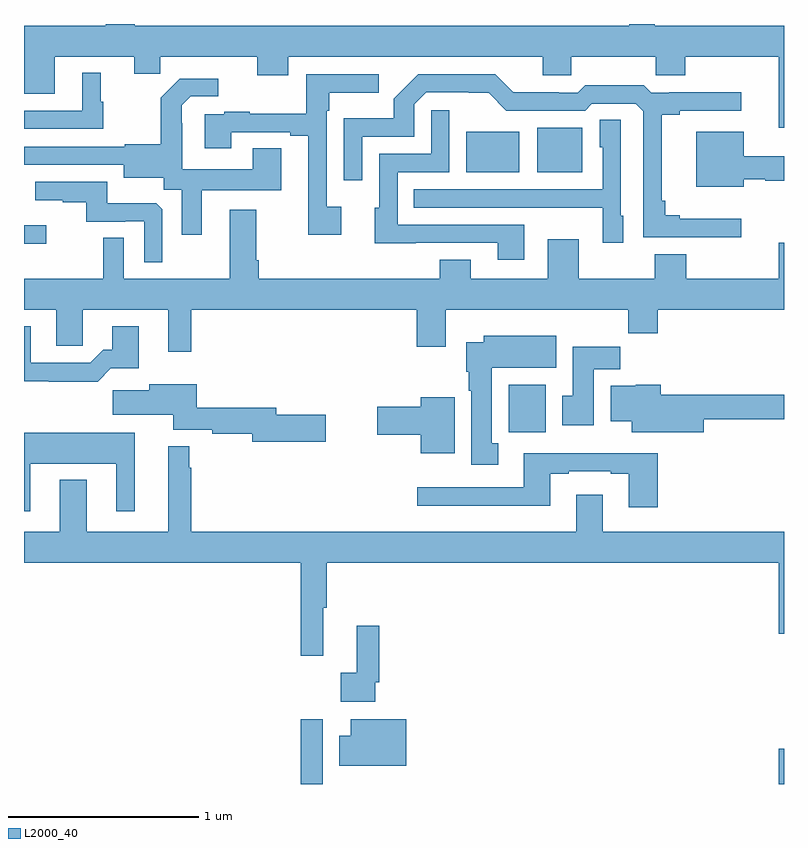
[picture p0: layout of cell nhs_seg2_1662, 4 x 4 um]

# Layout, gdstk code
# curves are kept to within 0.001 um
import gdstk
lib = gdstk.Library(unit=1e-6, precision=1e-09)
def R(c, l, rs):  # rectangles x0, y0, x1, y1
    for r in rs: c.add(gdstk.rectangle(r[:2], r[2:], *l))
def P(c, l, *ps):  # polygons
    for p in ps: c.add(gdstk.Polygon(p, *l))
L2000_40 = (2000, 40)

nhs_seg2_1662 = lib.new_cell('nhs_seg2_1662')
R(nhs_seg2_1662, L2000_40, [(198.457,651.8,198.573,652.141), (200.972,651.8,201,651.985), (199.551,653.652,199.747,653.902), (197,654.644,197.116,654.742), (199.328,655.019,199.606,655.234), (199.7,655.019,199.939,655.255)])
P(nhs_seg2_1662, L2000_40, [(201,655.792),(200.321,655.792),(200.321,655.8),(200.185,655.8),(200.185,655.792),(197.582,655.792),(197.582,655.8),(197.429,655.8),(197.429,655.792),(197,655.792),(197,655.434),(197.161,655.434),(197.161,655.628),(197.579,655.628),(197.579,655.538),(197.717,655.538),(197.717,655.628),(198.227,655.628),(198.227,655.529),(198.391,655.529),(198.391,655.628),(199.73,655.628),(199.73,655.53),(199.881,655.53),(199.881,655.628),(200.326,655.628),(200.326,655.53),(200.481,655.53),(200.481,655.628),(200.972,655.628),(200.972,655.254),(201,655.254)],
  [(197.416,655.392),(197.404,655.392),(197.404,655.543),(197.306,655.543),(197.306,655.344),(197,655.344),(197,655.248),(197.416,655.248)],
  [(198.67,654.838),(198.594,654.838),(198.594,655.343),(198.607,655.343),(198.607,655.439),(198.868,655.439),(198.868,655.536),(198.486,655.536),(198.486,655.328),(198.187,655.328),(198.187,655.339),(198.055,655.339),(198.055,655.326),(197.951,655.326),(197.951,655.146),(198.091,655.146),(198.091,655.23),(198.401,655.23),(198.401,655.212),(198.497,655.212),(198.497,654.69),(198.67,654.69)],
  [(200.776,654.775),(200.452,654.775),(200.452,654.794),(200.375,654.794),(200.375,654.871),(200.357,654.871),(200.357,655.322),(200.452,655.322),(200.452,655.344),(200.776,655.344),(200.776,655.442),(200.395,655.442),(200.395,655.437),(200.301,655.437),(200.261,655.477),(199.954,655.477),(199.914,655.437),(199.814,655.437),(199.814,655.442),(199.574,655.442),(199.479,655.536),(199.076,655.536),(198.946,655.406),(198.946,655.303),(198.684,655.303),(198.684,654.978),(198.78,654.978),(198.78,655.206),(199.053,655.206),(199.053,655.377),(199.116,655.44),(199.445,655.439),(199.539,655.344),(199.953,655.344),(199.989,655.38),(200.22,655.38),(200.259,655.341),(200.259,654.678),(200.776,654.678)],
  [(197.935,654.926),(198.355,654.926),(198.355,655.145),(198.203,655.145),(198.203,655.036),(197.832,655.036),(197.832,655.277),(197.83,655.277),(197.83,655.372),(197.877,655.419),(198.022,655.419),(198.022,655.513),(197.821,655.513),(197.721,655.413),(197.721,655.168),(197.529,655.168),(197.529,655.155),(197,655.155),(197,655.059),(197.525,655.059),(197.525,654.992),(197.736,654.992),(197.736,654.928),(197.831,654.928),(197.831,654.69),(197.935,654.69)],
  [(199.633,654.744),(198.966,654.744),(198.966,655.02),(199.239,655.02),(199.239,655.345),(199.143,655.345),(199.143,655.116),(198.87,655.116),(198.87,654.834),(198.845,654.834),(198.845,654.647),(199.063,654.647),(199.063,654.648),(199.493,654.648),(199.493,654.558),(199.633,654.558)],
  [(200.155,654.792),(200.142,654.792),(200.142,655.295),(200.03,655.295),(200.03,655.152),(200.046,655.152),(200.046,654.93),(199.051,654.93),(199.051,654.834),(199.729,654.834),(199.729,654.833),(200.046,654.833),(200.046,654.648),(200.155,654.648)],
  [(200.788,654.983),(200.901,654.983),(200.901,654.976),(201,654.976),(201,655.105),(200.788,655.105),(200.788,655.234),(200.537,655.234),(200.537,654.944),(200.788,654.944)],
  [(197.727,654.825),(197.695,654.857),(197.437,654.857),(197.437,654.969),(197.059,654.969),(197.059,654.872),(197.203,654.872),(197.203,654.861),(197.327,654.861),(197.327,654.759),(197.534,654.759),(197.534,654.762),(197.634,654.762),(197.634,654.545),(197.727,654.545)],
  [(197.881,654.296),(199.067,654.296),(199.067,654.102),(199.219,654.102),(199.219,654.296),(200.179,654.296),(200.179,654.172),(200.336,654.172),(200.336,654.296),(201,654.296),(201,654.649),(200.972,654.649),(200.972,654.46),(200.485,654.46),(200.485,654.589),(200.321,654.589),(200.321,654.46),(199.921,654.46),(199.921,654.667),(199.757,654.667),(199.757,654.46),(199.351,654.46),(199.351,654.559),(199.187,654.559),(199.187,654.46),(198.236,654.46),(198.236,654.556),(198.223,654.556),(198.223,654.823),(198.083,654.823),(198.083,654.46),(197.526,654.46),(197.526,654.674),(197.418,654.674),(197.418,654.46),(197,654.46),(197,654.296),(197.171,654.296),(197.171,654.106),(197.31,654.106),(197.31,654.296),(197.759,654.296),(197.759,654.075),(197.881,654.075)],
  [(197.456,653.987),(197.605,653.987),(197.605,654.208),(197.465,654.208),(197.465,654.085),(197.416,654.085),(197.349,654.018),(197.035,654.018),(197.035,654.208),(197,654.208),(197,653.92),(197.131,653.92),(197.131,653.918),(197.387,653.918)],
  [(199.495,653.593),(199.462,653.593),(199.462,653.99),(199.801,653.99),(199.801,654.16),(199.421,654.16),(199.421,654.124),(199.328,654.124),(199.328,653.97),(199.34,653.97),(199.34,653.87),(199.355,653.87),(199.355,653.481),(199.495,653.481)],
  [(199.999,653.984),(200.138,653.984),(200.138,654.102),(199.889,654.102),(199.889,653.844),(199.832,653.844),(199.832,653.688),(199.999,653.688)],
  [(198.589,653.744),(198.328,653.744),(198.328,653.78),(197.909,653.78),(197.909,653.905),(197.66,653.905),(197.66,653.873),(197.466,653.873),(197.466,653.744),(197.786,653.744),(197.786,653.664),(197.992,653.664),(197.992,653.644),(198.2,653.644),(198.2,653.602),(198.589,653.602)],
  [(200.578,653.719),(201,653.719),(201,653.848),(200.351,653.848),(200.351,653.902),(200.22,653.902),(200.22,653.896),(200.087,653.896),(200.087,653.708),(200.198,653.708),(200.198,653.651),(200.578,653.651)],
  [(199.267,653.836),(199.088,653.836),(199.088,653.786),(198.858,653.786),(198.858,653.639),(199.088,653.639),(199.088,653.54),(199.267,653.54)],
  [(197.032,653.486),(197.486,653.486),(197.486,653.235),(197.584,653.235),(197.584,653.65),(197,653.65),(197,653.235),(197.032,653.235)],
  [(198.457,652.476),(198.575,652.476),(198.575,652.728),(198.593,652.728),(198.593,652.964),(200.972,652.964),(200.972,652.59),(201,652.59),(201,653.128),(200.047,653.128),(200.047,653.323),(199.907,653.323),(199.907,653.128),(197.881,653.128),(197.881,653.465),(197.87,653.465),(197.87,653.578),(197.759,653.578),(197.759,653.128),(197.329,653.128),(197.329,653.401),(197.189,653.401),(197.189,653.128),(197,653.128),(197,652.964),(198.457,652.964)],
  [(200.336,653.542),(199.631,653.542),(199.631,653.361),(199.071,653.361),(199.071,653.264),(199.771,653.264),(199.771,653.433),(199.867,653.433),(199.867,653.445),(200.087,653.445),(200.087,653.433),(200.183,653.433),(200.183,653.256),(200.336,653.256)],
  [(198.849,652.336),(198.869,652.336),(198.869,652.633),(198.752,652.633),(198.752,652.385),(198.666,652.385),(198.666,652.232),(198.849,652.232)],
  [(199.012,652.141),(198.719,652.141),(198.719,652.054),(198.658,652.054),(198.658,651.896),(199.012,651.896)])

lib.write_gds('nhs_seg2_1662.gds')
